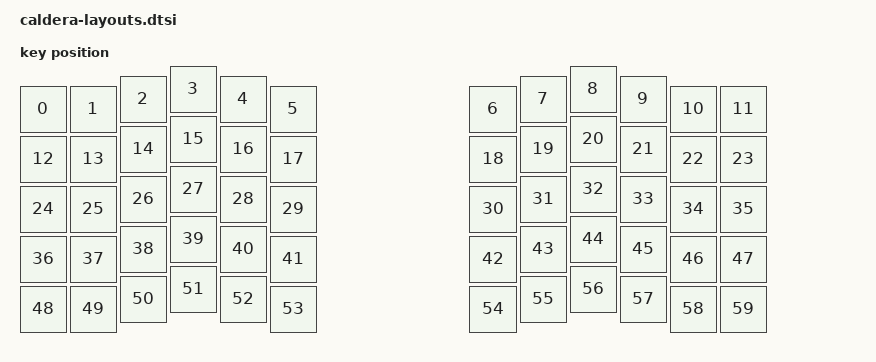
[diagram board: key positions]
/*
 * Physical layout of the Caldera: where each key sits, for ZMK Studio's on-screen keyboard.
 * Units are 1/100th of a key width. Order matches the keymap (left to right, top to bottom).
 * Generated from config/caldera.json (left half x=0-500, right half x=900-1400).
 */

#include <physical_layouts.dtsi>

/ {
    caldera_layout: caldera_layout {
        compatible = "zmk,physical-layout";
        display-name = "Caldera";
        keys  //                     w   h     x    y  rot  rx  ry
            = <&key_physical_attrs 100 100     0   40    0   0   0>
            , <&key_physical_attrs 100 100   100   40    0   0   0>
            , <&key_physical_attrs 100 100   200   20    0   0   0>
            , <&key_physical_attrs 100 100   300    0    0   0   0>
            , <&key_physical_attrs 100 100   400   20    0   0   0>
            , <&key_physical_attrs 100 100   500   40    0   0   0>
            , <&key_physical_attrs 100 100   900   40    0   0   0>
            , <&key_physical_attrs 100 100  1000   20    0   0   0>
            , <&key_physical_attrs 100 100  1100    0    0   0   0>
            , <&key_physical_attrs 100 100  1200   20    0   0   0>
            , <&key_physical_attrs 100 100  1300   40    0   0   0>
            , <&key_physical_attrs 100 100  1400   40    0   0   0>

            , <&key_physical_attrs 100 100     0  140    0   0   0>
            , <&key_physical_attrs 100 100   100  140    0   0   0>
            , <&key_physical_attrs 100 100   200  120    0   0   0>
            , <&key_physical_attrs 100 100   300  100    0   0   0>
            , <&key_physical_attrs 100 100   400  120    0   0   0>
            , <&key_physical_attrs 100 100   500  140    0   0   0>
            , <&key_physical_attrs 100 100   900  140    0   0   0>
            , <&key_physical_attrs 100 100  1000  120    0   0   0>
            , <&key_physical_attrs 100 100  1100  100    0   0   0>
            , <&key_physical_attrs 100 100  1200  120    0   0   0>
            , <&key_physical_attrs 100 100  1300  140    0   0   0>
            , <&key_physical_attrs 100 100  1400  140    0   0   0>

            , <&key_physical_attrs 100 100     0  240    0   0   0>
            , <&key_physical_attrs 100 100   100  240    0   0   0>
            , <&key_physical_attrs 100 100   200  220    0   0   0>
            , <&key_physical_attrs 100 100   300  200    0   0   0>
            , <&key_physical_attrs 100 100   400  220    0   0   0>
            , <&key_physical_attrs 100 100   500  240    0   0   0>
            , <&key_physical_attrs 100 100   900  240    0   0   0>
            , <&key_physical_attrs 100 100  1000  220    0   0   0>
            , <&key_physical_attrs 100 100  1100  200    0   0   0>
            , <&key_physical_attrs 100 100  1200  220    0   0   0>
            , <&key_physical_attrs 100 100  1300  240    0   0   0>
            , <&key_physical_attrs 100 100  1400  240    0   0   0>

            , <&key_physical_attrs 100 100     0  340    0   0   0>
            , <&key_physical_attrs 100 100   100  340    0   0   0>
            , <&key_physical_attrs 100 100   200  320    0   0   0>
            , <&key_physical_attrs 100 100   300  300    0   0   0>
            , <&key_physical_attrs 100 100   400  320    0   0   0>
            , <&key_physical_attrs 100 100   500  340    0   0   0>
            , <&key_physical_attrs 100 100   900  340    0   0   0>
            , <&key_physical_attrs 100 100  1000  320    0   0   0>
            , <&key_physical_attrs 100 100  1100  300    0   0   0>
            , <&key_physical_attrs 100 100  1200  320    0   0   0>
            , <&key_physical_attrs 100 100  1300  340    0   0   0>
            , <&key_physical_attrs 100 100  1400  340    0   0   0>

            , <&key_physical_attrs 100 100     0  440    0   0   0>
            , <&key_physical_attrs 100 100   100  440    0   0   0>
            , <&key_physical_attrs 100 100   200  420    0   0   0>
            , <&key_physical_attrs 100 100   300  400    0   0   0>
            , <&key_physical_attrs 100 100   400  420    0   0   0>
            , <&key_physical_attrs 100 100   500  440    0   0   0>
            , <&key_physical_attrs 100 100   900  440    0   0   0>
            , <&key_physical_attrs 100 100  1000  420    0   0   0>
            , <&key_physical_attrs 100 100  1100  400    0   0   0>
            , <&key_physical_attrs 100 100  1200  420    0   0   0>
            , <&key_physical_attrs 100 100  1300  440    0   0   0>
            , <&key_physical_attrs 100 100  1400  440    0   0   0>
            ;
    };
};

